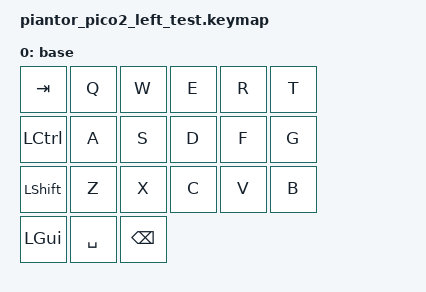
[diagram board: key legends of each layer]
#include <behaviors.dtsi>
#include <dt-bindings/zmk/keys.h>

/ {
    keymap {
        compatible = "zmk,keymap";

        base {
            bindings = <
                &kp TAB           &kp Q      &kp W      &kp E      &kp R      &kp T
                &kp LEFT_CONTROL  &kp A      &kp S      &kp D      &kp F      &kp G
                &kp LEFT_SHIFT    &kp Z      &kp X      &kp C      &kp V      &kp B
                &kp LEFT_GUI      &kp SPACE  &kp BACKSPACE
            >;
        };
    };
};
